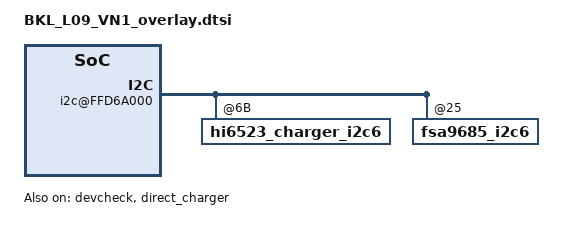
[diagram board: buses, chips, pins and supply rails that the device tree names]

/**
 * Copyright (C) 2014 Hisilicon Ltd.
 *
 *  This program is free software; you can redistribute it and/or modify
 *  it under the terms of the GNU General Public License version 2 as
 *  publishhed by the Free Software Foundation.
 */

/include/ "BKL_L09_V4_overlay.dtsi"

/ {
	board_id = <6993>;
};

&rootparam {
    hisi,boardid = <6 9 9 3>;
    hisi,boardname = "BKL_L09_VN1";
};

	&amba {
		i2c@FFD6A000 {
			hi6523_charger_i2c6@6B{
				status = "ok";
				single_phase_buck = <0>;
				fcp_support = <0>;
				scp_support = <0>;
				scp_need_extra_power = <0>;
			};
			fsa9685_i2c6@25{
				status = "ok";
			};
		};
	};
	&devcheck {
		usb_switch = <3>;
		status = "ok";
	};
	&direct_charger{
		scp_work_on_charger = <0>;
		status = "ok";
	};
